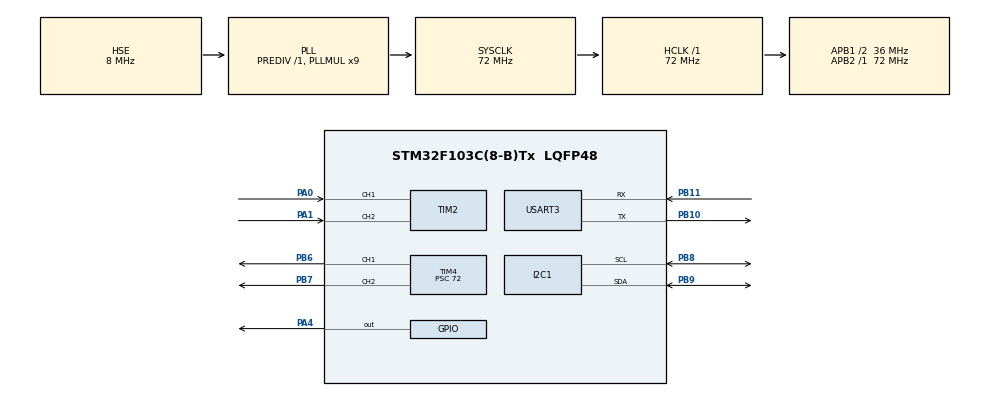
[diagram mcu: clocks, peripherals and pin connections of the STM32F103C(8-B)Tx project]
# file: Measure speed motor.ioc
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Mcu.Family=STM32F1
Mcu.Name=STM32F103C(8-B)Tx
Mcu.Package=LQFP48
NVIC.PriorityGroup=NVIC_PRIORITYGROUP_4
NVIC.TIM3_IRQn=true\:2\:0\:true\:false\:true\:true\:true
NVIC.USART3_IRQn=true\:0\:0\:true\:false\:true\:true\:true
PA0-WKUP.GPIO_PuPd=GPIO_PULLUP
PA0-WKUP.Signal=S_TIM2_CH1_ETR
PA1.GPIO_PuPd=GPIO_PULLUP
PA1.Signal=S_TIM2_CH2
PA13.Mode=Serial_Wire
PA13.Signal=SYS_JTMS-SWDIO
PA14.Mode=Serial_Wire
PA14.Signal=SYS_JTCK-SWCLK
PA4.Signal=GPIO_Output
PB10.Mode=Asynchronous
PB10.Signal=USART3_TX
PB11.Mode=Asynchronous
PB11.Signal=USART3_RX
PB6.Signal=S_TIM4_CH1
PB7.Signal=S_TIM4_CH2
PB8.Mode=I2C
PB8.Signal=I2C1_SCL
PB9.Mode=I2C
PB9.Signal=I2C1_SDA
PD0-OSC_IN.Mode=HSE-External-Oscillator
PD0-OSC_IN.Signal=RCC_OSC_IN
PD1-OSC_OUT.Mode=HSE-External-Oscillator
PD1-OSC_OUT.Signal=RCC_OSC_OUT
ProjectManager.HeapSize=0x200
ProjectManager.StackSize=0x400
ProjectManager.TargetToolchain=MDK-ARM V5.27
RCC.AHBFreq_Value=72000000
RCC.APB1CLKDivider=RCC_HCLK_DIV2
RCC.APB1Freq_Value=36000000
RCC.APB1TimFreq_Value=72000000
RCC.APB2Freq_Value=72000000
RCC.APB2TimFreq_Value=72000000
RCC.HCLKFreq_Value=72000000
RCC.PLLMUL=RCC_PLL_MUL9
RCC.PLLSourceVirtual=RCC_PLLSOURCE_HSE
RCC.SYSCLKFreq_VALUE=72000000
RCC.SYSCLKSource=RCC_SYSCLKSOURCE_PLLCLK
RCC.USBFreq_Value=72000000
SH.S_TIM2_CH1_ETR.0=TIM2_CH1,Encoder_Interface
SH.S_TIM2_CH2.0=TIM2_CH2,Encoder_Interface
SH.S_TIM4_CH1.0=TIM4_CH1,PWM Generation1 CH1
SH.S_TIM4_CH2.0=TIM4_CH2,PWM Generation2 CH2
TIM2.EncoderMode=TIM_ENCODERMODE_TI12
TIM3.Period=99
TIM3.Prescaler=72
TIM4.Channel-PWM\ Generation1\ CH1=TIM_CHANNEL_1
TIM4.Channel-PWM\ Generation2\ CH2=TIM_CHANNEL_2
TIM4.Period=999
TIM4.Prescaler=72
USART3.VirtualMode=VM_ASYNC
VP_TIM3_VS_ClockSourceINT.Mode=Internal
VP_TIM4_VS_ClockSourceINT.Mode=Internal
board=custom

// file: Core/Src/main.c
#include "main.h"
#include "math.h"
#include "stdio.h"
#include "i2c-lcd.h"
#include "string.h"
#include "stdlib.h"

I2C_HandleTypeDef hi2c1;

TIM_HandleTypeDef htim2;
TIM_HandleTypeDef htim3;
TIM_HandleTypeDef htim4;

UART_HandleTypeDef huart3;

/* USER CODE BEGIN PV */
volatile int Transfer_cplt,i;
volatile int encoder_cnt=0,cnt_pre=0;
uint16_t rase=0;
volatile int x;
long last =0;
float T=100;
volatile int i=0;
float Ki;
float Kp;
float Kd;
int sp=2300;
float Err_now,Err_sum,Err_last,Err_del;
float u;
char address='e';
char buffer[1];
volatile int k=0;
int *p;
uint8_t trans[2];
/* USER CODE END PV */

void SystemClock_Config(void);
static void MX_GPIO_Init(void);
static void MX_TIM2_Init(void);
static void MX_TIM3_Init(void);
static void MX_TIM4_Init(void);
static void MX_I2C1_Init(void);
static void MX_USART3_UART_Init(void);
/* USER CODE BEGIN PFP */
void HAL_UART_RxCpltCallback(UART_HandleTypeDef *huart){
			if(huart->Instance == USART3)
				{ // while break
					if(buffer[0]!=address){
					sp=2300;
					k=0;

					//break;
					}

					if(buffer[0]==address){
					k=1;
					sp=2800;

					//break;
					}

//						if(buffer[0]==address)
//{
// k=1;
// sp=3000;

//}

				HAL_UART_Receive_IT(&huart3, (uint8_t*) buffer, 1);

				}
}
/* USER CODE END PFP */

/* USER CODE BEGIN 0 */
void tocdo (int speed)
{
	char str[20] = {0};
	lcd_put_cur(0, 0);

	sprintf (str, "sp: %d ", speed);
	lcd_send_string(str);
	lcd_send_string("rpm");
}

void PID_tocdo(void)
{
Ki=0.03;
Kp=0.1;
Kd=0.03;

 Err_now = sp - rase ;
 Err_sum = Err_now + Err_last ;
 Err_del = Err_now - Err_last ;
 Err_last = Err_now ;

 u = u+ Kp*Err_now + Ki*Err_sum + Kd*Err_del ;
 if ( u > 999 ) {

 u = 999;}
 else if ( u< 0 ) u= 0 ;

}

int main(void)
{

  HAL_Init();

  SystemClock_Config();

  /* Initialize all configured peripherals */
  MX_GPIO_Init();
  MX_TIM2_Init();
  MX_TIM3_Init();
  MX_TIM4_Init();
  MX_I2C1_Init();
  MX_USART3_UART_Init();
  /* USER CODE BEGIN 2 */
	HAL_UART_Receive_IT(&huart3,(uint8_t*)buffer,1);
HAL_TIM_Encoder_Start(&htim2, TIM_CHANNEL_1|TIM_CHANNEL_2);
	//HAL_TIM_Base_Start_IT(&htim3);
	HAL_TIM_PWM_Start(&htim4,TIM_CHANNEL_1);
	HAL_TIM_PWM_Start(&htim4,TIM_CHANNEL_2);

	last = HAL_GetTick();
	lcd_init();
  lcd_send_string("Waiting!!!");
  HAL_Delay(2000);
  lcd_clear ();
  /* USER CODE END 2 */

  /* Infinite loop */
  /* USER CODE BEGIN WHILE */
  while (1)
  {

		if(HAL_GetTick() - last >= T){
			last = HAL_GetTick();
			encoder_cnt=__HAL_TIM_GET_COUNTER(&htim2);
			__HAL_TIM_SET_COUNTER(&htim2,0);
			rase=((encoder_cnt)* (60*(1000/T)))/(4*334);
			trans[0]= rase>>8;
			trans[1]=rase&0x00FF;
			HAL_UART_Transmit(&huart3, trans, sizeof(trans), 100);

			tocdo(rase);
			//   __HAL_TIM_SetCompare(&htim4,TIM_CHANNEL_1,999);
			PID_tocdo();
			__HAL_TIM_SetCompare(&htim4,TIM_CHANNEL_1,u);

			}
			//    __HAL_TIM_SetCompare(&htim4,TIM_CHANNEL_1,i);
			//		__HAL_TIM_SetCompare(&htim4,TIM_CHANNEL_2,0);
			//		i+=50;
			//		if(i>1000) i=0;
			//    HAL_Delay(1000);
			//
    /* USER CODE END WHILE */

  }
}

void SystemClock_Config(void)
{
  RCC_OscInitTypeDef RCC_OscInitStruct = {0};
  RCC_ClkInitTypeDef RCC_ClkInitStruct = {0};

  /** Initializes the RCC Oscillators according to the specified parameters
  * in the RCC_OscInitTypeDef structure.
  */
  RCC_OscInitStruct.OscillatorType = RCC_OSCILLATORTYPE_HSE;
  RCC_OscInitStruct.HSEState = RCC_HSE_ON;
  RCC_OscInitStruct.HSEPredivValue = RCC_HSE_PREDIV_DIV1;
  RCC_OscInitStruct.HSIState = RCC_HSI_ON;
  RCC_OscInitStruct.PLL.PLLState = RCC_PLL_ON;
  RCC_OscInitStruct.PLL.PLLSource = RCC_PLLSOURCE_HSE;
  RCC_OscInitStruct.PLL.PLLMUL = RCC_PLL_MUL9;
  if (HAL_RCC_OscConfig(&RCC_OscInitStruct) != HAL_OK)
  {
    Error_Handler();
  }
  /** Initializes the CPU, AHB and APB buses clocks
  */
  RCC_ClkInitStruct.ClockType = RCC_CLOCKTYPE_HCLK|RCC_CLOCKTYPE_SYSCLK
                              |RCC_CLOCKTYPE_PCLK1|RCC_CLOCKTYPE_PCLK2;
  RCC_ClkInitStruct.SYSCLKSource = RCC_SYSCLKSOURCE_PLLCLK;
  RCC_ClkInitStruct.AHBCLKDivider = RCC_SYSCLK_DIV1;
  RCC_ClkInitStruct.APB1CLKDivider = RCC_HCLK_DIV2;
  RCC_ClkInitStruct.APB2CLKDivider = RCC_HCLK_DIV1;

  if (HAL_RCC_ClockConfig(&RCC_ClkInitStruct, FLASH_LATENCY_2) != HAL_OK)
  {
    Error_Handler();
  }
}

static void MX_I2C1_Init(void)
{

  hi2c1.Instance = I2C1;
  hi2c1.Init.ClockSpeed = 100000;
  hi2c1.Init.DutyCycle = I2C_DUTYCYCLE_2;
  hi2c1.Init.OwnAddress1 = 0;
  hi2c1.Init.AddressingMode = I2C_ADDRESSINGMODE_7BIT;
  hi2c1.Init.DualAddressMode = I2C_DUALADDRESS_DISABLE;
  hi2c1.Init.OwnAddress2 = 0;
  hi2c1.Init.GeneralCallMode = I2C_GENERALCALL_DISABLE;
  hi2c1.Init.NoStretchMode = I2C_NOSTRETCH_DISABLE;
  if (HAL_I2C_Init(&hi2c1) != HAL_OK)
  {
    Error_Handler();
  }

}

static void MX_TIM2_Init(void)
{

  TIM_Encoder_InitTypeDef sConfig = {0};
  TIM_MasterConfigTypeDef sMasterConfig = {0};

  htim2.Instance = TIM2;
  htim2.Init.Prescaler = 0;
  htim2.Init.CounterMode = TIM_COUNTERMODE_UP;
  htim2.Init.Period = 65535;
  htim2.Init.ClockDivision = TIM_CLOCKDIVISION_DIV1;
  htim2.Init.AutoReloadPreload = TIM_AUTORELOAD_PRELOAD_DISABLE;
  sConfig.EncoderMode = TIM_ENCODERMODE_TI12;
  sConfig.IC1Polarity = TIM_ICPOLARITY_RISING;
  sConfig.IC1Selection = TIM_ICSELECTION_DIRECTTI;
  sConfig.IC1Prescaler = TIM_ICPSC_DIV1;
  sConfig.IC1Filter = 0;
  sConfig.IC2Polarity = TIM_ICPOLARITY_RISING;
  sConfig.IC2Selection = TIM_ICSELECTION_DIRECTTI;
  sConfig.IC2Prescaler = TIM_ICPSC_DIV1;
  sConfig.IC2Filter = 0;
  if (HAL_TIM_Encoder_Init(&htim2, &sConfig) != HAL_OK)
  {
    Error_Handler();
  }
  sMasterConfig.MasterOutputTrigger = TIM_TRGO_RESET;
  sMasterConfig.MasterSlaveMode = TIM_MASTERSLAVEMODE_DISABLE;
  if (HAL_TIMEx_MasterConfigSynchronization(&htim2, &sMasterConfig) != HAL_OK)
  {
    Error_Handler();
  }

}

static void MX_TIM3_Init(void)
{

  TIM_ClockConfigTypeDef sClockSourceConfig = {0};
  TIM_MasterConfigTypeDef sMasterConfig = {0};

  htim3.Instance = TIM3;
  htim3.Init.Prescaler = 72;
  htim3.Init.CounterMode = TIM_COUNTERMODE_UP;
  htim3.Init.Period = 99;
  htim3.Init.ClockDivision = TIM_CLOCKDIVISION_DIV1;
  htim3.Init.AutoReloadPreload = TIM_AUTORELOAD_PRELOAD_DISABLE;
  if (HAL_TIM_Base_Init(&htim3) != HAL_OK)
  {
    Error_Handler();
  }
  sClockSourceConfig.ClockSource = TIM_CLOCKSOURCE_INTERNAL;
  if (HAL_TIM_ConfigClockSource(&htim3, &sClockSourceConfig) != HAL_OK)
  {
    Error_Handler();
  }
  sMasterConfig.MasterOutputTrigger = TIM_TRGO_RESET;
  sMasterConfig.MasterSlaveMode = TIM_MASTERSLAVEMODE_DISABLE;
  if (HAL_TIMEx_MasterConfigSynchronization(&htim3, &sMasterConfig) != HAL_OK)
  {
    Error_Handler();
  }

}

static void MX_TIM4_Init(void)
{

  TIM_ClockConfigTypeDef sClockSourceConfig = {0};
  TIM_MasterConfigTypeDef sMasterConfig = {0};
  TIM_OC_InitTypeDef sConfigOC = {0};

  htim4.Instance = TIM4;
  htim4.Init.Prescaler = 72;
  htim4.Init.CounterMode = TIM_COUNTERMODE_UP;
  htim4.Init.Period = 999;
  htim4.Init.ClockDivision = TIM_CLOCKDIVISION_DIV1;
  htim4.Init.AutoReloadPreload = TIM_AUTORELOAD_PRELOAD_DISABLE;
  if (HAL_TIM_Base_Init(&htim4) != HAL_OK)
  {
    Error_Handler();
  }
  sClockSourceConfig.ClockSource = TIM_CLOCKSOURCE_INTERNAL;
  if (HAL_TIM_ConfigClockSource(&htim4, &sClockSourceConfig) != HAL_OK)
  {
    Error_Handler();
  }
  if (HAL_TIM_PWM_Init(&htim4) != HAL_OK)
  {
    Error_Handler();
  }
  sMasterConfig.MasterOutputTrigger = TIM_TRGO_RESET;
  sMasterConfig.MasterSlaveMode = TIM_MASTERSLAVEMODE_DISABLE;
  if (HAL_TIMEx_MasterConfigSynchronization(&htim4, &sMasterConfig) != HAL_OK)
  {
    Error_Handler();
  }
  sConfigOC.OCMode = TIM_OCMODE_PWM1;
  sConfigOC.Pulse = 0;
  sConfigOC.OCPolarity = TIM_OCPOLARITY_HIGH;
  sConfigOC.OCFastMode = TIM_OCFAST_DISABLE;
  if (HAL_TIM_PWM_ConfigChannel(&htim4, &sConfigOC, TIM_CHANNEL_1) != HAL_OK)
  {
    Error_Handler();
  }
  if (HAL_TIM_PWM_ConfigChannel(&htim4, &sConfigOC, TIM_CHANNEL_2) != HAL_OK)
  {
    Error_Handler();
  }
  HAL_TIM_MspPostInit(&htim4);

}

static void MX_USART3_UART_Init(void)
{

  huart3.Instance = USART3;
  huart3.Init.BaudRate = 115200;
  huart3.Init.WordLength = UART_WORDLENGTH_8B;
  huart3.Init.StopBits = UART_STOPBITS_1;
  huart3.Init.Parity = UART_PARITY_NONE;
  huart3.Init.Mode = UART_MODE_TX_RX;
  huart3.Init.HwFlowCtl = UART_HWCONTROL_NONE;
  huart3.Init.OverSampling = UART_OVERSAMPLING_16;
  if (HAL_UART_Init(&huart3) != HAL_OK)
  {
    Error_Handler();
  }

}

static void MX_GPIO_Init(void)
{
  GPIO_InitTypeDef GPIO_InitStruct = {0};

  /* GPIO Ports Clock Enable */
  __HAL_RCC_GPIOD_CLK_ENABLE();
  __HAL_RCC_GPIOA_CLK_ENABLE();
  __HAL_RCC_GPIOB_CLK_ENABLE();

  /*Configure GPIO pin Output Level */
  HAL_GPIO_WritePin(GPIOA, GPIO_PIN_4, GPIO_PIN_RESET);

  /*Configure GPIO pin : PA4 */
  GPIO_InitStruct.Pin = GPIO_PIN_4;
  GPIO_InitStruct.Mode = GPIO_MODE_OUTPUT_PP;
  GPIO_InitStruct.Pull = GPIO_NOPULL;
  GPIO_InitStruct.Speed = GPIO_SPEED_FREQ_LOW;
  HAL_GPIO_Init(GPIOA, &GPIO_InitStruct);

}

void Error_Handler(void)
{
  __disable_irq();
  while (1)
  {
  }
}
